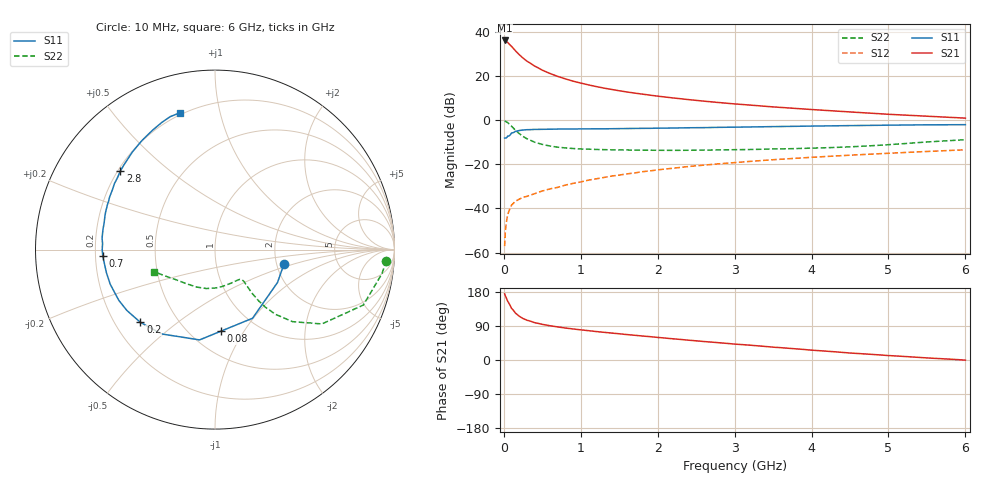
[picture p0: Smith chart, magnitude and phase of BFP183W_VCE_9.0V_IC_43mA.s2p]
! Infineon Technologies  Discrete & RF Semiconductors
! BFP183W
! VCE =  9.0 V,  IC =  43 mA
! Common Emitter S-Parameters:  Jan 2017
# GHz  S  MA  R  50
!  f  S11  S21  S12  S22
! GHz  MAG  ANG  MAG  ANG  MAG  ANG  MAG  ANG
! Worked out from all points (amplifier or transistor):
!   77 points, 10 MHz to 6 GHz, reference 50 ohm
!   highest |S21| = 36.0 dB at 10 MHz (marker M1)
!   |S21| within 3 dB of that: start of sweep to 108.5 MHz
!   unconditionally stable (mu >= 1): 828 MHz to 3.314 GHz
!   at 130 MHz: K = 0.35, MSG = 34.8 dB, |S12| = -37.5 dB
!   at 2.2 GHz: K = 1.07, MAG = 14.3 dB, |S12| = -21.8 dB
!   at 6 GHz: K = 0.85, MSG = 7.2 dB, |S12| = -13.4 dB
!   S11 on the Smith chart (normalised r, x): 10 MHz: 2.19, -0.43; 80 MHz: 0.69, -0.79; 200 MHz: 0.31, -0.37; 700 MHz: 0.23, -0.03; 2.8 GHz: 0.21, +0.35; 6 GHz: 0.19, +0.76
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0.01  0.3922 -12.2  63.44 174.6  0.0014 84.6  0.9568 -3.7
0.02  0.3936 -27.7  62.12 169.1  0.0031 90.7  0.9393 -8.3
0.05  0.4359 -61.3  57.37 155.0  0.0072 73.7  0.8822 -20.5
0.08  0.4559 -86.0  50.25 144.7  0.01 64.4  0.7821 -28.4
0.1  0.5104 -99.7  46.63 136.2  0.0119 60.7  0.7254 -34.8
0.15  0.556 -122.3  37.22 124.0  0.0145 52.6  0.5897 -42.9
0.2  0.5805 -135.7  30.26 115.5  0.0162 51.0  0.4945 -46.9
0.25  0.5968 -145.4  25.3 109.4  0.0179 49.8  0.4266 -48.8
0.3  0.6059 -152.2  21.58 105.0  0.0188 49.2  0.3771 -49.6
0.4  0.6148 -161.7  16.68 98.5  0.0216 52.8  0.316 -49.7
0.5  0.6183 -167.8  13.48 94.1  0.0248 54.0  0.2811 -48.9
0.6  0.6212 -172.8  11.34 90.4  0.0277 56.4  0.2587 -48.4
0.7  0.6264 -176.6  9.748 87.3  0.03 59.3  0.2434 -47.7
0.9  0.6273 176.9  7.604 81.9  0.0369 61.9  0.2272 -48.2
1.1  0.633 171.7  6.26 77.4  0.0437 63.0  0.2196 -49.3
1.5  0.6408 163.2  4.608 69.2  0.0569 64.3  0.2109 -54.1
2.1  0.6583 151.8  3.324 57.8  0.078 63.6  0.2068 -66.1
2.8  0.6851 140.4  2.491 45.5  0.1025 60.7  0.2116 -84.1
3.1  0.6951 136.0  2.253 40.6  0.1126 59.0  0.2146 -92.1
4.1  0.7348 122.5  1.692 24.6  0.1469 53.0  0.2342 -118.9
5.1  0.7699 112.0  1.326 10.6  0.1807 46.5  0.285 -145.4
6  0.7872 104.2  1.108 -0.3  0.2127 40.3  0.36 -160.1
